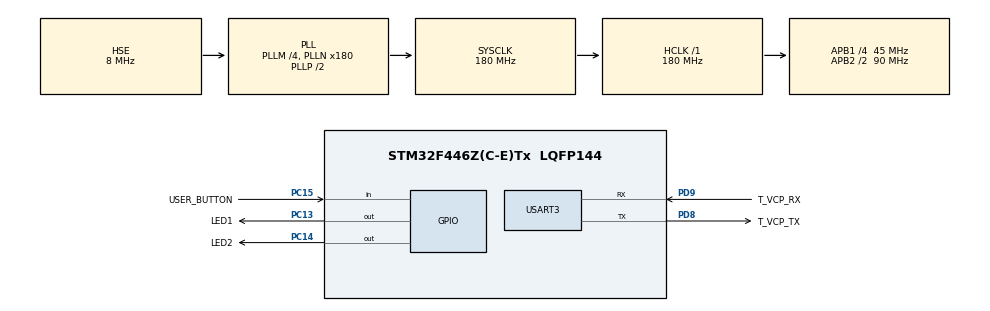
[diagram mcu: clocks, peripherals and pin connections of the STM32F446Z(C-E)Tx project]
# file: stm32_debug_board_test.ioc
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Mcu.Family=STM32F4
Mcu.Name=STM32F446Z(C-E)Tx
Mcu.Package=LQFP144
NVIC.PriorityGroup=NVIC_PRIORITYGROUP_4
PA13.Mode=Trace_Asynchronous_SW
PA13.Signal=SYS_JTMS-SWDIO
PA14.Mode=Trace_Asynchronous_SW
PA14.Signal=SYS_JTCK-SWCLK
PB3.Mode=Trace_Asynchronous_SW
PB3.Signal=SYS_JTDO-SWO
PC13.GPIO_Label=LED1
PC13.PinState=GPIO_PIN_SET
PC13.Signal=GPIO_Output
PC14-OSC32_IN.GPIO_Label=LED2
PC14-OSC32_IN.PinState=GPIO_PIN_SET
PC14-OSC32_IN.Signal=GPIO_Output
PC15-OSC32_OUT.GPIO_Label=USER_BUTTON
PC15-OSC32_OUT.Signal=GPIO_Input
PD8.GPIO_Label=T_VCP_TX
PD8.GPIO_Speed=GPIO_SPEED_FREQ_LOW
PD8.Mode=Asynchronous
PD8.Signal=USART3_TX
PD9.GPIO_Label=T_VCP_RX
PD9.GPIO_Speed=GPIO_SPEED_FREQ_LOW
PD9.Mode=Asynchronous
PD9.Signal=USART3_RX
PH0-OSC_IN.Mode=HSE-External-Oscillator
PH0-OSC_IN.Signal=RCC_OSC_IN
PH1-OSC_OUT.Mode=HSE-External-Oscillator
PH1-OSC_OUT.Signal=RCC_OSC_OUT
ProjectManager.HeapSize=0x200
ProjectManager.StackSize=0x400
ProjectManager.TargetToolchain=STM32CubeIDE
RCC.AHBFreq_Value=180000000
RCC.APB1CLKDivider=RCC_HCLK_DIV4
RCC.APB1Freq_Value=45000000
RCC.APB1TimFreq_Value=90000000
RCC.APB2CLKDivider=RCC_HCLK_DIV2
RCC.APB2Freq_Value=90000000
RCC.APB2TimFreq_Value=180000000
RCC.CortexFreq_Value=180000000
RCC.HCLKFreq_Value=180000000
RCC.HSE_VALUE=8000000
RCC.PLLM=4
RCC.PLLN=180
RCC.PLLQ=8
RCC.PLLSourceVirtual=RCC_PLLSOURCE_HSE
RCC.SYSCLKFreq_VALUE=180000000
RCC.SYSCLKSource=RCC_SYSCLKSOURCE_PLLCLK
RCC.USBFreq_Value=45000000
RCC.VCOOutputFreq_Value=360000000
USART3.VirtualMode=VM_ASYNC
board=custom

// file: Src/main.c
/* USER CODE BEGIN Header */
/**
  ******************************************************************************
  * @file           : main.c
  * @brief          : Main program body
  ******************************************************************************
  * @attention
  *
  * Copyright (c) 2026 STMicroelectronics.
  * All rights reserved.
  *
  * This software is licensed under terms that can be found in the LICENSE file
  * in the root directory of this software component.
  * If no LICENSE file comes with this software, it is provided AS-IS.
  *
  * Original application code:
  * Copyright (c) 2026 E. Watson.
  * Licensed under the MIT License.
  *
  ******************************************************************************
  */
/* USER CODE END Header */
#include "main.h"
#include "usart.h"
#include "gpio.h"

void SystemClock_Config(void);

int main(void)
{

  /* MCU Configuration--------------------------------------------------------*/

  /* Reset of all peripherals, Initializes the Flash interface and the Systick. */
  HAL_Init();

  /* Configure the system clock */
  SystemClock_Config();

  /* Initialize all configured peripherals */
  MX_GPIO_Init();
  MX_USART3_UART_Init();
  /* USER CODE BEGIN 2 */

  uint8_t startupMessage[] = "STM32 Debug Board V1.0\r\n"
                             "Firmware started\r\n";

  uint8_t heartbeatMessage[] = "Running...\r\n";

  const char swoMessage[] = "SWO: Running...\r\n";

  HAL_UART_Transmit(&huart3,
                    startupMessage,
                    sizeof(startupMessage) - 1,
                    100);

  uint32_t lastLedTick = HAL_GetTick();
  uint32_t lastHeartbeatTick = HAL_GetTick();

  uint8_t ledState = 0;
  uint8_t rxByte;

  /* User button variables */
  GPIO_PinState lastButtonState =
      HAL_GPIO_ReadPin(USER_BUTTON_GPIO_Port, USER_BUTTON_Pin);

  GPIO_PinState stableButtonState = lastButtonState;

  uint32_t lastButtonTick = HAL_GetTick();

  uint8_t buttonPressedMessage[] = "Button pressed\r\n";
  uint8_t buttonReleasedMessage[] = "Button released\r\n";

  /* USER CODE END 2 */

  /* Infinite loop */
  while (1)
  {

    /* USER CODE BEGIN 3 */

    uint32_t currentTick = HAL_GetTick();

    /* Alternate LEDs every 500 ms */
    if ((currentTick - lastLedTick) >= 500U)
    {
      lastLedTick = currentTick;

      if (ledState == 0)
      {
        HAL_GPIO_WritePin(LED2_GPIO_Port, LED2_Pin, GPIO_PIN_SET);
        HAL_GPIO_WritePin(LED1_GPIO_Port, LED1_Pin, GPIO_PIN_RESET);

        ledState = 1;
      }
      else
      {
        HAL_GPIO_WritePin(LED1_GPIO_Port, LED1_Pin, GPIO_PIN_SET);
        HAL_GPIO_WritePin(LED2_GPIO_Port, LED2_Pin, GPIO_PIN_RESET);

        ledState = 0;
      }
    }

    /* Transmit heartbeat every second */
    if ((currentTick - lastHeartbeatTick) >= 1000U)
    {
      lastHeartbeatTick = currentTick;

      HAL_UART_Transmit(&huart3,
                        heartbeatMessage,
                        sizeof(heartbeatMessage) - 1,
                        100);

      /* SWO heartbeat */
      for (uint32_t i = 0; i < sizeof(swoMessage) - 1; i++)
      {
        ITM_SendChar(swoMessage[i]);
      }
    }

    /* Receive and echo a character */
    if (HAL_UART_Receive(&huart3, &rxByte, 1, 0) == HAL_OK)
    {
      HAL_UART_Transmit(&huart3, &rxByte, 1, 100);
    }

    /* Read user button */
    GPIO_PinState buttonState =
        HAL_GPIO_ReadPin(USER_BUTTON_GPIO_Port, USER_BUTTON_Pin);

    /* Restart debounce timer whenever the input changes */
    if (buttonState != lastButtonState)
    {
      lastButtonState = buttonState;
      lastButtonTick = currentTick;
    }

    /* Accept the new state after 20 ms of stability */
    if ((currentTick - lastButtonTick) >= 20U)
    {
      if (buttonState != stableButtonState)
      {
        stableButtonState = buttonState;

        if (stableButtonState == GPIO_PIN_RESET)
        {
          HAL_UART_Transmit(&huart3,
                            buttonPressedMessage,
                            sizeof(buttonPressedMessage) - 1,
                            100);
        }
        else
        {
          HAL_UART_Transmit(&huart3,
                            buttonReleasedMessage,
                            sizeof(buttonReleasedMessage) - 1,
                            100);
        }
      }
    }
  }
  /* USER CODE END 3 */
}

void SystemClock_Config(void)
{
  RCC_OscInitTypeDef RCC_OscInitStruct = {0};
  RCC_ClkInitTypeDef RCC_ClkInitStruct = {0};

  /** Configure the main internal regulator output voltage
  */
  __HAL_RCC_PWR_CLK_ENABLE();
  __HAL_PWR_VOLTAGESCALING_CONFIG(PWR_REGULATOR_VOLTAGE_SCALE1);

  /** Initializes the RCC Oscillators according to the specified parameters
  * in the RCC_OscInitTypeDef structure.
  */
  RCC_OscInitStruct.OscillatorType = RCC_OSCILLATORTYPE_HSE;
  RCC_OscInitStruct.HSEState = RCC_HSE_ON;
  RCC_OscInitStruct.PLL.PLLState = RCC_PLL_ON;
  RCC_OscInitStruct.PLL.PLLSource = RCC_PLLSOURCE_HSE;
  RCC_OscInitStruct.PLL.PLLM = 4;
  RCC_OscInitStruct.PLL.PLLN = 180;
  RCC_OscInitStruct.PLL.PLLP = RCC_PLLP_DIV2;
  RCC_OscInitStruct.PLL.PLLQ = 8;
  RCC_OscInitStruct.PLL.PLLR = 2;
  if (HAL_RCC_OscConfig(&RCC_OscInitStruct) != HAL_OK)
  {
    Error_Handler();
  }

  /** Activate the Over-Drive mode
  */
  if (HAL_PWREx_EnableOverDrive() != HAL_OK)
  {
    Error_Handler();
  }

  /** Initializes the CPU, AHB and APB buses clocks
  */
  RCC_ClkInitStruct.ClockType = RCC_CLOCKTYPE_HCLK|RCC_CLOCKTYPE_SYSCLK
                              |RCC_CLOCKTYPE_PCLK1|RCC_CLOCKTYPE_PCLK2;
  RCC_ClkInitStruct.SYSCLKSource = RCC_SYSCLKSOURCE_PLLCLK;
  RCC_ClkInitStruct.AHBCLKDivider = RCC_SYSCLK_DIV1;
  RCC_ClkInitStruct.APB1CLKDivider = RCC_HCLK_DIV4;
  RCC_ClkInitStruct.APB2CLKDivider = RCC_HCLK_DIV2;

  if (HAL_RCC_ClockConfig(&RCC_ClkInitStruct, FLASH_LATENCY_5) != HAL_OK)
  {
    Error_Handler();
  }
}

void Error_Handler(void)
{
  __disable_irq();
  while (1)
  {
  }
}
